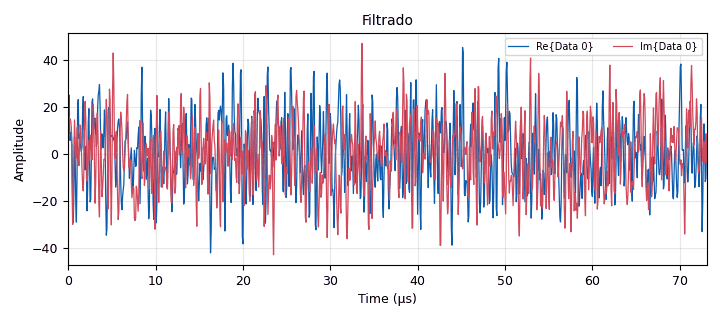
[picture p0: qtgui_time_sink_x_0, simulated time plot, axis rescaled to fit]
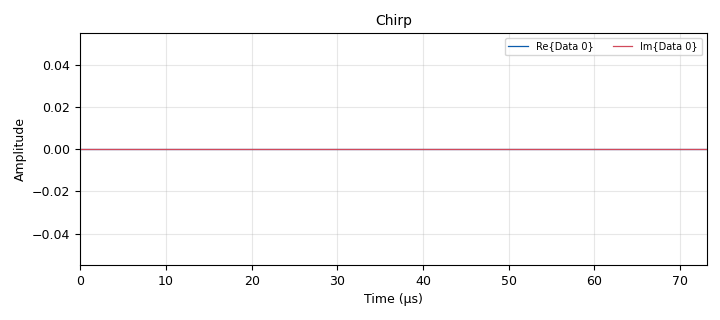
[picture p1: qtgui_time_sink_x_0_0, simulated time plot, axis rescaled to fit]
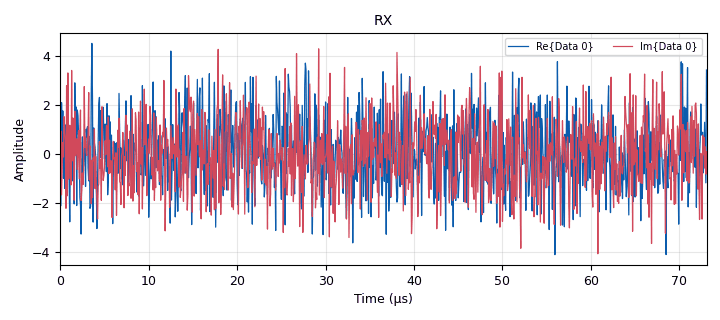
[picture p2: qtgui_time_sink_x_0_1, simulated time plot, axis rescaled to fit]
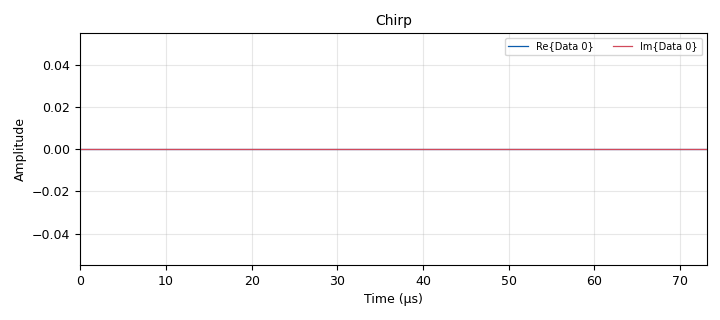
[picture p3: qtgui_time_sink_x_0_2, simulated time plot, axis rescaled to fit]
<?xml version='1.0' encoding='utf-8'?>
<?grc format='1' created='3.7.13'?>
<flow_graph>
<block>
<key>options</key>
<param><key>id</key><value>top_block</value></param>
<param><key>generate_options</key><value>qt_gui</value></param>
</block>
<block>
<key>variable</key>
<param><key>id</key><value>AN</value></param>
<param><key>value</key><value>2</value></param>
</block>
<block>
<key>variable</key>
<param><key>id</key><value>N</value></param>
<param><key>value</key><value>p*Tp*W</value></param>
</block>
<block>
<key>variable</key>
<param><key>id</key><value>Np</value></param>
<param><key>value</key><value>5</value></param>
</block>
<block>
<key>variable_qtgui_range</key>
<param><key>id</key><value>R</value></param>
<param><key>value</key><value>((max_range+min_range)/4)</value></param>
<param><key>orient</key><value>Qt.Horizontal</value></param>
<param><key>start</key><value>min_range</value></param>
<param><key>step</key><value>0.05</value></param>
<param><key>stop</key><value>max_range</value></param>
</block>
<block>
<key>variable</key>
<param><key>id</key><value>Rthres</value></param>
<param><key>value</key><value>0.6</value></param>
</block>
<block>
<key>variable</key>
<param><key>id</key><value>T_0</value></param>
<param><key>value</key><value>z*np.arange(0,Np)</value></param>
</block>
<block>
<key>variable</key>
<param><key>id</key><value>T_window</value></param>
<param><key>value</key><value>np.array([25, 200])</value></param>
</block>
<block>
<key>variable</key>
<param><key>id</key><value>Tp</value></param>
<param><key>value</key><value>7e-6</value></param>
</block>
<block>
<key>variable</key>
<param><key>id</key><value>Vthres</value></param>
<param><key>value</key><value>0.9</value></param>
</block>
<block>
<key>variable</key>
<param><key>id</key><value>W</value></param>
<param><key>value</key><value>7e6</value></param>
</block>
<block>
<key>variable</key>
<param><key>id</key><value>alpha</value></param>
<param><key>value</key><value>1/(2*p*p*Tp*W)</value></param>
</block>
<block>
<key>variable</key>
<param><key>id</key><value>c</value></param>
<param><key>value</key><value>3e8</value></param>
</block>
<block>
<key>variable</key>
<param><key>id</key><value>chirp</value></param>
<param><key>value</key><value>np.exp(1j*2*np.pi*alpha*(n-0.5*N)**2)</value></param>
</block>
<block>
<key>variable</key>
<param><key>id</key><value>fc</value></param>
<param><key>value</key><value>7e3</value></param>
</block>
<block>
<key>variable</key>
<param><key>id</key><value>h</value></param>
<param><key>value</key><value>np.exp(-1j*2*np.pi*alpha*(n-0.5*N)**2)</value></param>
</block>
<block>
<key>variable</key>
<param><key>id</key><value>max_range</value></param>
<param><key>value</key><value>(T_window[1]*1e-6-Tp)/2*c/1000</value></param>
</block>
<block>
<key>variable</key>
<param><key>id</key><value>min_range</value></param>
<param><key>value</key><value>(T_window[0]*1e-6)/2*c/1000</value></param>
</block>
<block>
<key>variable</key>
<param><key>id</key><value>n</value></param>
<param><key>value</key><value>np.arange(0,N)</value></param>
</block>
<block>
<key>variable</key>
<param><key>id</key><value>p</value></param>
<param><key>value</key><value>2</value></param>
</block>
<block>
<key>variable</key>
<param><key>id</key><value>samp_rate</value></param>
<param><key>value</key><value>p*W</value></param>
</block>
<block>
<key>variable</key>
<param><key>id</key><value>z</value></param>
<param><key>value</key><value>205e-6</value></param>
</block>
<block>
<key>analog_noise_source_x</key>
<param><key>id</key><value>analog_noise_source_x_0</value></param>
<param><key>amp</key><value>2</value></param>
<param><key>noise_type</key><value>analog.GR_GAUSSIAN</value></param>
<param><key>type</key><value>complex</value></param>
<param><key>seed</key><value>0</value></param>
</block>
<block>
<key>blocks_add_xx</key>
<param><key>id</key><value>blocks_add_xx_0</value></param>
<param><key>type</key><value>complex</value></param>
</block>
<block>
<key>blocks_delay</key>
<param><key>id</key><value>blocks_delay_0</value></param>
<param><key>delay</key><value>int(2*R*1000/(c/samp_rate)) </value></param>
<param><key>type</key><value>complex</value></param>
</block>
<block>
<key>blocks_file_sink</key>
<param><key>id</key><value>blocks_file_sink_0</value></param>
<param><key>file</key><value>C:\Users\faust\Pessoal\2020-1\LabPRINCOM\projetofinal\modelo_atual\output.bin</value></param>
<param><key>type</key><value>complex</value></param>
</block>
<block>
<key>blocks_file_sink</key>
<param><key>id</key><value>blocks_file_sink_0_0</value></param>
<param><key>file</key><value>C:\Users\faust\Pessoal\2020-1\LabPRINCOM\projetofinal\modelo_atual\chirp.bin</value></param>
<param><key>type</key><value>complex</value></param>
</block>
<block>
<key>blocks_skiphead</key>
<param><key>id</key><value>blocks_skiphead_0</value></param>
<param><key>_enabled</key><value>0</value></param>
<param><key>num_items</key><value>1000</value></param>
<param><key>type</key><value>complex</value></param>
</block>
<block>
<key>blocks_throttle</key>
<param><key>id</key><value>blocks_throttle_0</value></param>
<param><key>samples_per_second</key><value>samp_rate</value></param>
<param><key>type</key><value>complex</value></param>
</block>
<block>
<key>blocks_vector_source_x</key>
<param><key>id</key><value>blocks_vector_source_x_0</value></param>
<param><key>type</key><value>complex</value></param>
<param><key>repeat</key><value>False</value></param>
<param><key>vector</key><value>np.append(chirp,np.zeros(int(p*W*(z-Tp))))</value></param>
</block>
<block>
<key>fir_filter_xxx</key>
<param><key>id</key><value>fir_filter_xxx_0</value></param>
<param><key>decim</key><value>1</value></param>
<param><key>taps</key><value>h</value></param>
<param><key>type</key><value>ccc</value></param>
</block>
<block>
<key>import</key>
<param><key>id</key><value>import_0</value></param>
<param><key>import</key><value>import numpy as np</value></param>
</block>
<block>
<key>qtgui_time_sink_x</key>
<param><key>id</key><value>qtgui_time_sink_x_0</value></param>
<param><key>color1</key><value>"blue"</value></param>
<param><key>label1</key><value></value></param>
<param><key>color2</key><value>"red"</value></param>
<param><key>label2</key><value></value></param>
<param><key>name</key><value>"Filtrado"</value></param>
<param><key>size</key><value>1024</value></param>
<param><key>srate</key><value>samp_rate</value></param>
<param><key>type</key><value>complex</value></param>
</block>
<block>
<key>qtgui_time_sink_x</key>
<param><key>id</key><value>qtgui_time_sink_x_0_0</value></param>
<param><key>color1</key><value>"blue"</value></param>
<param><key>label1</key><value></value></param>
<param><key>color2</key><value>"red"</value></param>
<param><key>label2</key><value></value></param>
<param><key>name</key><value>"Chirp"</value></param>
<param><key>size</key><value>1024</value></param>
<param><key>srate</key><value>samp_rate</value></param>
<param><key>type</key><value>complex</value></param>
</block>
<block>
<key>qtgui_time_sink_x</key>
<param><key>id</key><value>qtgui_time_sink_x_0_1</value></param>
<param><key>color1</key><value>"blue"</value></param>
<param><key>label1</key><value></value></param>
<param><key>color2</key><value>"red"</value></param>
<param><key>label2</key><value></value></param>
<param><key>name</key><value>"RX"</value></param>
<param><key>size</key><value>1024</value></param>
<param><key>srate</key><value>samp_rate</value></param>
<param><key>type</key><value>complex</value></param>
</block>
<block>
<key>qtgui_time_sink_x</key>
<param><key>id</key><value>qtgui_time_sink_x_0_2</value></param>
<param><key>color1</key><value>"blue"</value></param>
<param><key>label1</key><value></value></param>
<param><key>color2</key><value>"red"</value></param>
<param><key>label2</key><value></value></param>
<param><key>name</key><value>"Chirp"</value></param>
<param><key>size</key><value>1024</value></param>
<param><key>srate</key><value>samp_rate</value></param>
<param><key>type</key><value>complex</value></param>
</block>
<connection><source_block_id>analog_noise_source_x_0</source_block_id><sink_block_id>blocks_add_xx_0</sink_block_id><source_key>0</source_key><sink_key>0</sink_key></connection>
<connection><source_block_id>blocks_add_xx_0</source_block_id><sink_block_id>blocks_skiphead_0</sink_block_id><source_key>0</source_key><sink_key>0</sink_key></connection>
<connection><source_block_id>blocks_add_xx_0</source_block_id><sink_block_id>fir_filter_xxx_0</sink_block_id><source_key>0</source_key><sink_key>0</sink_key></connection>
<connection><source_block_id>blocks_add_xx_0</source_block_id><sink_block_id>qtgui_time_sink_x_0_1</sink_block_id><source_key>0</source_key><sink_key>0</sink_key></connection>
<connection><source_block_id>blocks_delay_0</source_block_id><sink_block_id>blocks_add_xx_0</sink_block_id><source_key>0</source_key><sink_key>1</sink_key></connection>
<connection><source_block_id>blocks_skiphead_0</source_block_id><sink_block_id>fir_filter_xxx_0</sink_block_id><source_key>0</source_key><sink_key>0</sink_key></connection>
<connection><source_block_id>blocks_skiphead_0</source_block_id><sink_block_id>qtgui_time_sink_x_0_1</sink_block_id><source_key>0</source_key><sink_key>0</sink_key></connection>
<connection><source_block_id>blocks_throttle_0</source_block_id><sink_block_id>blocks_delay_0</sink_block_id><source_key>0</source_key><sink_key>0</sink_key></connection>
<connection><source_block_id>blocks_throttle_0</source_block_id><sink_block_id>blocks_file_sink_0_0</sink_block_id><source_key>0</source_key><sink_key>0</sink_key></connection>
<connection><source_block_id>blocks_throttle_0</source_block_id><sink_block_id>qtgui_time_sink_x_0_0</sink_block_id><source_key>0</source_key><sink_key>0</sink_key></connection>
<connection><source_block_id>blocks_throttle_0</source_block_id><sink_block_id>qtgui_time_sink_x_0_2</sink_block_id><source_key>0</source_key><sink_key>0</sink_key></connection>
<connection><source_block_id>blocks_vector_source_x_0</source_block_id><sink_block_id>blocks_throttle_0</sink_block_id><source_key>0</source_key><sink_key>0</sink_key></connection>
<connection><source_block_id>fir_filter_xxx_0</source_block_id><sink_block_id>blocks_file_sink_0</sink_block_id><source_key>0</source_key><sink_key>0</sink_key></connection>
<connection><source_block_id>fir_filter_xxx_0</source_block_id><sink_block_id>qtgui_time_sink_x_0</sink_block_id><source_key>0</source_key><sink_key>0</sink_key></connection>
</flow_graph>
